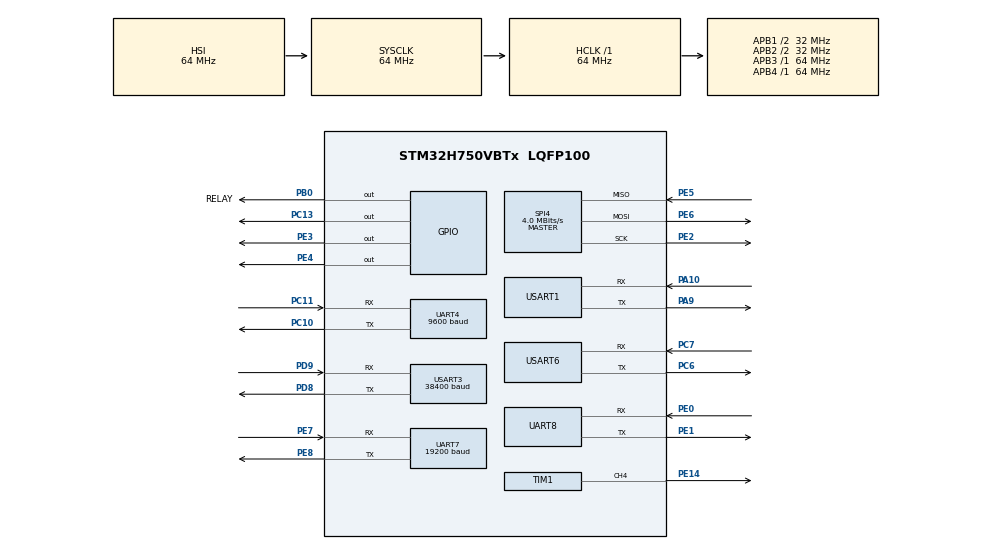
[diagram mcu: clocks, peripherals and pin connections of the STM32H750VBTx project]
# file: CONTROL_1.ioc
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CORTEX_M7.default_mode_Activation=1
Dma.Request0=USART6_RX
Dma.Request1=USART6_TX
Dma.Request10=UART8_RX
Dma.Request11=UART8_TX
Dma.Request2=USART1_RX
Dma.Request3=USART1_TX
Dma.Request4=UART4_RX
Dma.Request5=UART4_TX
Dma.Request6=USART3_RX
Dma.Request7=USART3_TX
Dma.Request8=UART7_RX
Dma.Request9=UART7_TX
Dma.UART4_RX.4.Direction=DMA_PERIPH_TO_MEMORY
Dma.UART4_RX.4.EventEnable=DISABLE
Dma.UART4_RX.4.FIFOMode=DMA_FIFOMODE_DISABLE
Dma.UART4_RX.4.Instance=DMA1_Stream4
Dma.UART4_RX.4.MemDataAlignment=DMA_MDATAALIGN_BYTE
Dma.UART4_RX.4.MemInc=DMA_MINC_ENABLE
Dma.UART4_RX.4.Mode=DMA_NORMAL
Dma.UART4_RX.4.PeriphDataAlignment=DMA_PDATAALIGN_BYTE
Dma.UART4_RX.4.PeriphInc=DMA_PINC_DISABLE
Dma.UART4_RX.4.Polarity=HAL_DMAMUX_REQ_GEN_RISING
Dma.UART4_RX.4.Priority=DMA_PRIORITY_LOW
Dma.UART4_RX.4.RequestNumber=1
Dma.UART4_RX.4.SignalID=NONE
Dma.UART4_RX.4.SyncEnable=DISABLE
Dma.UART4_RX.4.SyncPolarity=HAL_DMAMUX_SYNC_NO_EVENT
Dma.UART4_RX.4.SyncRequestNumber=1
Dma.UART4_RX.4.SyncSignalID=NONE
Dma.UART4_TX.5.Direction=DMA_MEMORY_TO_PERIPH
Dma.UART4_TX.5.EventEnable=DISABLE
Dma.UART4_TX.5.FIFOMode=DMA_FIFOMODE_DISABLE
Dma.UART4_TX.5.Instance=DMA1_Stream5
Dma.UART4_TX.5.MemDataAlignment=DMA_MDATAALIGN_BYTE
Dma.UART4_TX.5.MemInc=DMA_MINC_ENABLE
Dma.UART4_TX.5.Mode=DMA_NORMAL
Dma.UART4_TX.5.PeriphDataAlignment=DMA_PDATAALIGN_BYTE
Dma.UART4_TX.5.PeriphInc=DMA_PINC_DISABLE
Dma.UART4_TX.5.Polarity=HAL_DMAMUX_REQ_GEN_RISING
Dma.UART4_TX.5.Priority=DMA_PRIORITY_LOW
Dma.UART4_TX.5.RequestNumber=1
Dma.UART4_TX.5.SignalID=NONE
Dma.UART4_TX.5.SyncEnable=DISABLE
Dma.UART4_TX.5.SyncPolarity=HAL_DMAMUX_SYNC_NO_EVENT
Dma.UART4_TX.5.SyncRequestNumber=1
Dma.UART4_TX.5.SyncSignalID=NONE
Dma.UART7_RX.8.Direction=DMA_PERIPH_TO_MEMORY
Dma.UART7_RX.8.EventEnable=DISABLE
Dma.UART7_RX.8.FIFOMode=DMA_FIFOMODE_DISABLE
Dma.UART7_RX.8.Instance=DMA2_Stream0
Dma.UART7_RX.8.MemDataAlignment=DMA_MDATAALIGN_BYTE
Dma.UART7_RX.8.MemInc=DMA_MINC_ENABLE
Dma.UART7_RX.8.Mode=DMA_NORMAL
Dma.UART7_RX.8.PeriphDataAlignment=DMA_PDATAALIGN_BYTE
Dma.UART7_RX.8.PeriphInc=DMA_PINC_DISABLE
Dma.UART7_RX.8.Polarity=HAL_DMAMUX_REQ_GEN_RISING
Dma.UART7_RX.8.Priority=DMA_PRIORITY_LOW
Dma.UART7_RX.8.RequestNumber=1
Dma.UART7_RX.8.SignalID=NONE
Dma.UART7_RX.8.SyncEnable=DISABLE
Dma.UART7_RX.8.SyncPolarity=HAL_DMAMUX_SYNC_NO_EVENT
Dma.UART7_RX.8.SyncRequestNumber=1
Dma.UART7_RX.8.SyncSignalID=NONE
Dma.UART7_TX.9.Direction=DMA_MEMORY_TO_PERIPH
Dma.UART7_TX.9.EventEnable=DISABLE
Dma.UART7_TX.9.FIFOMode=DMA_FIFOMODE_DISABLE
Dma.UART7_TX.9.Instance=DMA2_Stream1
Dma.UART7_TX.9.MemDataAlignment=DMA_MDATAALIGN_BYTE
Dma.UART7_TX.9.MemInc=DMA_MINC_ENABLE
Dma.UART7_TX.9.Mode=DMA_NORMAL
Dma.UART7_TX.9.PeriphDataAlignment=DMA_PDATAALIGN_BYTE
Dma.UART7_TX.9.PeriphInc=DMA_PINC_DISABLE
Dma.UART7_TX.9.Polarity=HAL_DMAMUX_REQ_GEN_RISING
Dma.UART7_TX.9.Priority=DMA_PRIORITY_LOW
Dma.UART7_TX.9.RequestNumber=1
Dma.UART7_TX.9.SignalID=NONE
Dma.UART7_TX.9.SyncEnable=DISABLE
Dma.UART7_TX.9.SyncPolarity=HAL_DMAMUX_SYNC_NO_EVENT
Dma.UART7_TX.9.SyncRequestNumber=1
Dma.UART7_TX.9.SyncSignalID=NONE
Dma.UART8_RX.10.Direction=DMA_PERIPH_TO_MEMORY
Dma.UART8_RX.10.EventEnable=DISABLE
Dma.UART8_RX.10.FIFOMode=DMA_FIFOMODE_DISABLE
Dma.UART8_RX.10.Instance=DMA2_Stream2
Dma.UART8_RX.10.MemDataAlignment=DMA_MDATAALIGN_BYTE
Dma.UART8_RX.10.MemInc=DMA_MINC_ENABLE
Dma.UART8_RX.10.Mode=DMA_NORMAL
Dma.UART8_RX.10.PeriphDataAlignment=DMA_PDATAALIGN_BYTE
Dma.UART8_RX.10.PeriphInc=DMA_PINC_DISABLE
Dma.UART8_RX.10.Polarity=HAL_DMAMUX_REQ_GEN_RISING
Dma.UART8_RX.10.Priority=DMA_PRIORITY_LOW
Dma.UART8_RX.10.RequestNumber=1
Dma.UART8_RX.10.SignalID=NONE
Dma.UART8_RX.10.SyncEnable=DISABLE
Dma.UART8_RX.10.SyncPolarity=HAL_DMAMUX_SYNC_NO_EVENT
Dma.UART8_RX.10.SyncRequestNumber=1
Dma.UART8_RX.10.SyncSignalID=NONE
Dma.UART8_TX.11.Direction=DMA_MEMORY_TO_PERIPH
Dma.UART8_TX.11.EventEnable=DISABLE
Dma.UART8_TX.11.FIFOMode=DMA_FIFOMODE_DISABLE
Dma.UART8_TX.11.Instance=DMA2_Stream3
Dma.UART8_TX.11.MemDataAlignment=DMA_MDATAALIGN_BYTE
Dma.UART8_TX.11.MemInc=DMA_MINC_ENABLE
Dma.UART8_TX.11.Mode=DMA_NORMAL
Dma.UART8_TX.11.PeriphDataAlignment=DMA_PDATAALIGN_BYTE
Dma.UART8_TX.11.PeriphInc=DMA_PINC_DISABLE
Dma.UART8_TX.11.Polarity=HAL_DMAMUX_REQ_GEN_RISING
Dma.UART8_TX.11.Priority=DMA_PRIORITY_LOW
Dma.UART8_TX.11.RequestNumber=1
Dma.UART8_TX.11.SignalID=NONE
Dma.UART8_TX.11.SyncEnable=DISABLE
Dma.UART8_TX.11.SyncPolarity=HAL_DMAMUX_SYNC_NO_EVENT
Dma.UART8_TX.11.SyncRequestNumber=1
Dma.UART8_TX.11.SyncSignalID=NONE
Dma.USART1_RX.2.Direction=DMA_PERIPH_TO_MEMORY
Dma.USART1_RX.2.EventEnable=DISABLE
Dma.USART1_RX.2.FIFOMode=DMA_FIFOMODE_DISABLE
Dma.USART1_RX.2.Instance=DMA1_Stream2
Dma.USART1_RX.2.MemDataAlignment=DMA_MDATAALIGN_BYTE
Dma.USART1_RX.2.MemInc=DMA_MINC_ENABLE
Dma.USART1_RX.2.Mode=DMA_NORMAL
Dma.USART1_RX.2.PeriphDataAlignment=DMA_PDATAALIGN_BYTE
Dma.USART1_RX.2.PeriphInc=DMA_PINC_DISABLE
Dma.USART1_RX.2.Polarity=HAL_DMAMUX_REQ_GEN_RISING
Dma.USART1_RX.2.Priority=DMA_PRIORITY_LOW
Dma.USART1_RX.2.RequestNumber=1
Dma.USART1_RX.2.SignalID=NONE
Dma.USART1_RX.2.SyncEnable=DISABLE
Dma.USART1_RX.2.SyncPolarity=HAL_DMAMUX_SYNC_NO_EVENT
Dma.USART1_RX.2.SyncRequestNumber=1
Dma.USART1_RX.2.SyncSignalID=NONE
Dma.USART1_TX.3.Direction=DMA_MEMORY_TO_PERIPH
Dma.USART1_TX.3.EventEnable=DISABLE
Dma.USART1_TX.3.FIFOMode=DMA_FIFOMODE_DISABLE
Dma.USART1_TX.3.Instance=DMA1_Stream3
Dma.USART1_TX.3.MemDataAlignment=DMA_MDATAALIGN_BYTE
Dma.USART1_TX.3.MemInc=DMA_MINC_ENABLE
Dma.USART1_TX.3.Mode=DMA_NORMAL
Dma.USART1_TX.3.PeriphDataAlignment=DMA_PDATAALIGN_BYTE
Dma.USART1_TX.3.PeriphInc=DMA_PINC_DISABLE
Dma.USART1_TX.3.Polarity=HAL_DMAMUX_REQ_GEN_RISING
Dma.USART1_TX.3.Priority=DMA_PRIORITY_LOW
Dma.USART1_TX.3.RequestNumber=1
Dma.USART1_TX.3.SignalID=NONE
Dma.USART1_TX.3.SyncEnable=DISABLE
Dma.USART1_TX.3.SyncPolarity=HAL_DMAMUX_SYNC_NO_EVENT
Dma.USART1_TX.3.SyncRequestNumber=1
Dma.USART1_TX.3.SyncSignalID=NONE
Dma.USART3_RX.6.Direction=DMA_PERIPH_TO_MEMORY
Dma.USART3_RX.6.EventEnable=DISABLE
Dma.USART3_RX.6.FIFOMode=DMA_FIFOMODE_DISABLE
Dma.USART3_RX.6.Instance=DMA1_Stream6
Dma.USART3_RX.6.MemDataAlignment=DMA_MDATAALIGN_BYTE
Dma.USART3_RX.6.MemInc=DMA_MINC_ENABLE
Dma.USART3_RX.6.Mode=DMA_NORMAL
Dma.USART3_RX.6.PeriphDataAlignment=DMA_PDATAALIGN_BYTE
Dma.USART3_RX.6.PeriphInc=DMA_PINC_DISABLE
Dma.USART3_RX.6.Polarity=HAL_DMAMUX_REQ_GEN_RISING
Dma.USART3_RX.6.Priority=DMA_PRIORITY_LOW
Dma.USART3_RX.6.RequestNumber=1
Dma.USART3_RX.6.SignalID=NONE
Dma.USART3_RX.6.SyncEnable=DISABLE
Dma.USART3_RX.6.SyncPolarity=HAL_DMAMUX_SYNC_NO_EVENT
Dma.USART3_RX.6.SyncRequestNumber=1
Dma.USART3_RX.6.SyncSignalID=NONE
Dma.USART3_TX.7.Direction=DMA_MEMORY_TO_PERIPH
Dma.USART3_TX.7.EventEnable=DISABLE
Dma.USART3_TX.7.FIFOMode=DMA_FIFOMODE_DISABLE
Dma.USART3_TX.7.Instance=DMA1_Stream7
Dma.USART3_TX.7.MemDataAlignment=DMA_MDATAALIGN_BYTE
Dma.USART3_TX.7.MemInc=DMA_MINC_ENABLE
Dma.USART3_TX.7.Mode=DMA_NORMAL
Dma.USART3_TX.7.PeriphDataAlignment=DMA_PDATAALIGN_BYTE
Dma.USART3_TX.7.PeriphInc=DMA_PINC_DISABLE
Dma.USART3_TX.7.Polarity=HAL_DMAMUX_REQ_GEN_RISING
Dma.USART3_TX.7.Priority=DMA_PRIORITY_LOW
Dma.USART3_TX.7.RequestNumber=1
Dma.USART3_TX.7.SignalID=NONE
Dma.USART3_TX.7.SyncEnable=DISABLE
Dma.USART3_TX.7.SyncPolarity=HAL_DMAMUX_SYNC_NO_EVENT
Dma.USART3_TX.7.SyncRequestNumber=1
Dma.USART3_TX.7.SyncSignalID=NONE
Dma.USART6_RX.0.Direction=DMA_PERIPH_TO_MEMORY
Dma.USART6_RX.0.EventEnable=DISABLE
Dma.USART6_RX.0.FIFOMode=DMA_FIFOMODE_DISABLE
Dma.USART6_RX.0.Instance=DMA1_Stream0
Dma.USART6_RX.0.MemDataAlignment=DMA_MDATAALIGN_BYTE
Dma.USART6_RX.0.MemInc=DMA_MINC_ENABLE
Dma.USART6_RX.0.Mode=DMA_NORMAL
Dma.USART6_RX.0.PeriphDataAlignment=DMA_PDATAALIGN_BYTE
Dma.USART6_RX.0.PeriphInc=DMA_PINC_DISABLE
Dma.USART6_RX.0.Polarity=HAL_DMAMUX_REQ_GEN_RISING
Dma.USART6_RX.0.Priority=DMA_PRIORITY_LOW
Dma.USART6_RX.0.RequestNumber=1
Dma.USART6_RX.0.SignalID=NONE
Dma.USART6_RX.0.SyncEnable=DISABLE
Dma.USART6_RX.0.SyncPolarity=HAL_DMAMUX_SYNC_NO_EVENT
Dma.USART6_RX.0.SyncRequestNumber=1
Dma.USART6_RX.0.SyncSignalID=NONE
Dma.USART6_TX.1.Direction=DMA_MEMORY_TO_PERIPH
Dma.USART6_TX.1.EventEnable=DISABLE
Dma.USART6_TX.1.FIFOMode=DMA_FIFOMODE_DISABLE
Dma.USART6_TX.1.Instance=DMA1_Stream1
Dma.USART6_TX.1.MemDataAlignment=DMA_MDATAALIGN_BYTE
Dma.USART6_TX.1.MemInc=DMA_MINC_ENABLE
Dma.USART6_TX.1.Mode=DMA_NORMAL
Dma.USART6_TX.1.PeriphDataAlignment=DMA_PDATAALIGN_BYTE
Dma.USART6_TX.1.PeriphInc=DMA_PINC_DISABLE
Dma.USART6_TX.1.Polarity=HAL_DMAMUX_REQ_GEN_RISING
Dma.USART6_TX.1.Priority=DMA_PRIORITY_LOW
Dma.USART6_TX.1.RequestNumber=1
Dma.USART6_TX.1.SignalID=NONE
Dma.USART6_TX.1.SyncEnable=DISABLE
Dma.USART6_TX.1.SyncPolarity=HAL_DMAMUX_SYNC_NO_EVENT
Dma.USART6_TX.1.SyncRequestNumber=1
Dma.USART6_TX.1.SyncSignalID=NONE
Mcu.Family=STM32H7
Mcu.Name=STM32H750VBTx
Mcu.Package=LQFP100
NVIC.DMA1_Stream0_IRQn=true\:0\:0\:false\:false\:true\:false\:true\:true
NVIC.DMA1_Stream1_IRQn=true\:0\:0\:false\:false\:true\:false\:true\:true
NVIC.DMA1_Stream2_IRQn=true\:0\:0\:false\:false\:true\:false\:true\:true
NVIC.DMA1_Stream3_IRQn=true\:0\:0\:false\:false\:true\:false\:true\:true
NVIC.DMA1_Stream4_IRQn=true\:0\:0\:false\:false\:true\:false\:true\:true
NVIC.DMA1_Stream5_IRQn=true\:0\:0\:false\:false\:true\:false\:true\:true
NVIC.DMA1_Stream6_IRQn=true\:0\:0\:false\:false\:true\:false\:true\:true
NVIC.DMA1_Stream7_IRQn=true\:0\:0\:false\:false\:true\:false\:true\:true
NVIC.DMA2_Stream0_IRQn=true\:0\:0\:false\:false\:true\:false\:true\:true
NVIC.DMA2_Stream1_IRQn=true\:0\:0\:false\:false\:true\:false\:true\:true
NVIC.DMA2_Stream2_IRQn=true\:0\:0\:false\:false\:true\:false\:true\:true
NVIC.DMA2_Stream3_IRQn=true\:0\:0\:false\:false\:true\:false\:true\:true
NVIC.PriorityGroup=NVIC_PRIORITYGROUP_4
NVIC.TIM4_IRQn=true\:0\:0\:false\:false\:true\:true\:true\:true
NVIC.UART4_IRQn=true\:0\:0\:false\:false\:true\:true\:true\:true
NVIC.UART7_IRQn=true\:0\:0\:false\:false\:true\:true\:true\:true
NVIC.UART8_IRQn=true\:0\:0\:false\:false\:true\:true\:true\:true
NVIC.USART1_IRQn=true\:0\:0\:false\:false\:true\:true\:true\:true
NVIC.USART3_IRQn=true\:0\:0\:false\:false\:true\:true\:true\:true
NVIC.USART6_IRQn=true\:0\:0\:false\:false\:true\:true\:true\:true
PA10.Mode=Asynchronous
PA10.Signal=USART1_RX
PA9.Mode=Asynchronous
PA9.Signal=USART1_TX
PB0.GPIO_Label=RELAY
PB0.Signal=GPIO_Output
PB1.Signal=ADCx_INP5
PC10.Mode=Asynchronous
PC10.Signal=UART4_TX
PC11.Mode=Asynchronous
PC11.Signal=UART4_RX
PC13.GPIO_Speed=GPIO_SPEED_FREQ_LOW
PC13.Signal=GPIO_Output
PC6.Mode=Asynchronous
PC6.Signal=USART6_TX
PC7.Mode=Asynchronous
PC7.Signal=USART6_RX
PD8.Mode=Asynchronous
PD8.Signal=USART3_TX
PD9.Mode=Asynchronous
PD9.Signal=USART3_RX
PE0.Mode=Asynchronous
PE0.Signal=UART8_RX
PE1.Mode=Asynchronous
PE1.Signal=UART8_TX
PE14.Signal=S_TIM1_CH4
PE2.Mode=Full_Duplex_Master
PE2.Signal=SPI4_SCK
PE3.GPIO_Speed=GPIO_SPEED_FREQ_LOW
PE3.Signal=GPIO_Output
PE4.GPIO_Speed=GPIO_SPEED_FREQ_LOW
PE4.Signal=GPIO_Output
PE5.Mode=Full_Duplex_Master
PE5.Signal=SPI4_MISO
PE6.Mode=Full_Duplex_Master
PE6.Signal=SPI4_MOSI
PE7.Mode=Asynchronous
PE7.Signal=UART7_RX
PE8.Mode=Asynchronous
PE8.Signal=UART7_TX
PH0-OSC_IN\ (PH0).Mode=HSE-External-Oscillator
PH0-OSC_IN\ (PH0).Signal=RCC_OSC_IN
PH1-OSC_OUT\ (PH1).Mode=HSE-External-Oscillator
PH1-OSC_OUT\ (PH1).Signal=RCC_OSC_OUT
ProjectManager.HeapSize=0x200
ProjectManager.StackSize=0x400
ProjectManager.TargetToolchain=STM32CubeIDE
RCC.ADCFreq_Value=80000000
RCC.APB1Freq_Value=32000000
RCC.APB2Freq_Value=32000000
RCC.APB3Freq_Value=64000000
RCC.APB4Freq_Value=64000000
RCC.CortexFreq_Value=64000000
RCC.D2PPRE1=RCC_APB1_DIV2
RCC.D2PPRE2=RCC_APB2_DIV2
RCC.DIVM2=4
RCC.DIVN2=10
RCC.HCLKFreq_Value=64000000
RCC.PLL2FRACN=0
RCC.SYSCLKFreq_VALUE=64000000
RCC.USBFreq_Value=129000000
SH.ADCx_INP5.0=ADC1_INP5
SH.ADCx_INP5.1=ADC2_INP5
SH.S_TIM1_CH4.0=TIM1_CH4,PWM Generation4 CH4
SPI4.BaudRatePrescaler=SPI_BAUDRATEPRESCALER_8
SPI4.CLKPhase=SPI_PHASE_2EDGE
SPI4.CalculateBaudRate=4.0 MBits/s
SPI4.DataSize=SPI_DATASIZE_8BIT
SPI4.Direction=SPI_DIRECTION_2LINES
SPI4.Mode=SPI_MODE_MASTER
SPI4.VirtualType=VM_MASTER
TIM1.Channel-PWM\ Generation4\ CH4=TIM_CHANNEL_4
TIM1.Period=99
TIM1.Prescaler=64-1
TIM1.Pulse-PWM\ Generation4\ CH4=65534
TIM4.Period=65535
TIM4.Prescaler=64-1
UART4.BaudRate=9600
UART7.BaudRate=19200
USART1.VirtualMode-Asynchronous=VM_ASYNC
USART3.BaudRate=38400
USART3.VirtualMode-Asynchronous=VM_ASYNC
USART6.VirtualMode=VM_ASYNC
VP_MEMORYMAP_VS_MEMORYMAP.Mode=CurAppReg
VP_TIM1_VS_ClockSourceINT.Mode=Internal
VP_TIM4_VS_ClockSourceINT.Mode=Internal
board=custom

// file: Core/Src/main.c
/* USER CODE BEGIN Header */
/**
  ******************************************************************************
  * @file           : main.c
  * @brief          : Main program body
  ******************************************************************************
  * @attention
  *
  * Copyright (c) 2025 STMicroelectronics.
  * All rights reserved.
  *
  * This software is licensed under terms that can be found in the LICENSE file
  * in the root directory of this software component.
  * If no LICENSE file comes with this software, it is provided AS-IS.
  *
  ******************************************************************************
  */
/* USER CODE END Header */
#include "main.h"
#include "dma.h"
#include "spi.h"
#include "tim.h"
#include "usart.h"
#include "gpio.h"

/* USER CODE BEGIN Includes */
#include <stdlib.h>
#include <stdint.h>
#include "pump.h"
#include "temperature.h"
#include "ph.h"
#include "stir.h"
#include "relay.h"
#include "oxygen.h"
#include "pid.h"
#include "ntc_control.h"
#include "ads8688.h"
#include "crc.h"
//#include "OD.h"
#include "endgas.h"
#include "pt100.h"
#include "pwm2.h"
/* USER CODE END Includes */

/* USER CODE BEGIN PD */
GPIO_PinState pin_state;

uint8_t rx_data1[RX_BUFFER_SIZE];

/* USER CODE END PD */

/* USER CODE BEGIN PV */

//_write 非阻塞 DMA 重定向
#define UART_TX_BUFFER_SIZE 256
uint8_t uart_tx_buffer[UART_TX_BUFFER_SIZE];
volatile uint8_t tx_busy = 0;

int _write(int file, char *ptr, int len) {
    if(len > UART_TX_BUFFER_SIZE) len = UART_TX_BUFFER_SIZE;

    // 等待前一次发送完成（带超时）
    uint32_t start = HAL_GetTick();
    while(tx_busy && (HAL_GetTick() - start < 100)) {
        // 等待或执行其他任务
    }

    if(tx_busy) {
        return 0; // 超时仍未完成，放弃发送
    }

    memcpy(uart_tx_buffer, ptr, len);
    tx_busy = 1;
    HAL_UART_Transmit_DMA(&huart1, uart_tx_buffer, len);

    return len;
}

/* USER CODE END PV */

void SystemClock_Config(void);
static void MPU_Config(void);

int main(void)
{

  /* MPU Configuration--------------------------------------------------------*/
  MPU_Config();

  /* MCU Configuration--------------------------------------------------------*/

  /* Reset of all peripherals, Initializes the Flash interface and the Systick. */
  HAL_Init();

  /* Configure the system clock */
  SystemClock_Config();

  /* Initialize all configured peripherals */
  MX_GPIO_Init();
  MX_DMA_Init();
  MX_USART6_UART_Init();
  MX_TIM4_Init();
  MX_USART1_UART_Init();
  MX_USART3_UART_Init();
  MX_UART4_Init();
  MX_UART7_Init();
  MX_SPI4_Init();
  MX_UART8_Init();
  MX_TIM1_Init();
  /* USER CODE BEGIN 2 */

  HAL_TIM_Base_Start(&htim4);
  //OD_Init();
  HAL_Delay(50);
  ADS8688_Init();
  printf("ADS8688 Initialized Successfully!\r\n");
  HAL_Delay(50);
  Relay_Init();
  HAL_Delay(50);

  static uint32_t last_Endgas_time = 0;//尾气任务计时
  static uint32_t last_ph_time = 0;//ph任务计时
  static uint32_t last_temp_time = 0;  // 温控任务计时器
  static uint32_t last_ox_time = 0;// 溶氧任务计时器
  HAL_UARTEx_ReceiveToIdle_DMA(&huart7, rx_data7, sizeof(rx_data7));
  __HAL_DMA_DISABLE_IT(huart7.hdmarx, DMA_IT_HT);
  HAL_UARTEx_ReceiveToIdle_DMA(&huart3, rx_data3, sizeof(rx_data3));
  __HAL_DMA_DISABLE_IT(huart3.hdmarx, DMA_IT_HT);
  HAL_UARTEx_ReceiveToIdle_DMA(&huart6, rx_data6, sizeof(rx_data6));
  __HAL_DMA_DISABLE_IT(huart6.hdmarx, DMA_IT_HT);
  HAL_UARTEx_ReceiveToIdle_DMA(&huart4, rx_data4, sizeof(rx_data4));
    __HAL_DMA_DISABLE_IT(huart4.hdmarx, DMA_IT_HT);
    HAL_UARTEx_ReceiveToIdle_DMA(&huart8, rx_data8, sizeof(rx_data8));
        __HAL_DMA_DISABLE_IT(huart8.hdmarx, DMA_IT_HT);
    PT100_Init();
  Get_Sign();
  HAL_Delay(50);
  SpeedMode();
  HAL_Delay(50);
  Set_Stir_Speed(0);
//  PWM2_Init();
//  HAL_Delay(50);
  NTC_Control_Init();  // 初始化温控（执行自整定）

  /* USER CODE END 2 */

  /* Infinite loop */
  /* USER CODE BEGIN WHILE */
  while (1)
  {
	  // 处理 USART1 接收数据
	      if (usart1_rx_flag)
	      {
	          usart1_rx_flag = 0;   // 清除标志

	          // 调用搅拌命令解析函数
	          Process_Stir_Command(usart1_rx_buffer, usart1_rx_size);
	      }

	    // 每 1000ms 执行一次 pH 任务
	      if (HAL_GetTick() - last_ph_time >= 3000) {
	          Task_PH();
	          last_ph_time = HAL_GetTick();
	      }
	      // 每 1000ms 执行一次 尾气 任务
	      	      if (HAL_GetTick() - last_Endgas_time >= 1000) {
	      	    	Send_Task();
	      	    	last_Endgas_time = HAL_GetTick();
	      	      }

	      // 每1000ms执行一次温控任务
	      if (HAL_GetTick() - last_temp_time >= 500) {
	        NTC_Control_Update();// 更新温度控制
	        last_temp_time = HAL_GetTick();
	      }

	      if (HAL_GetTick() - last_ox_time >= 2000) {
	    	 ADS8688_ReadOxygen(4);  // 更新溶氧控制
	      	      last_ox_time = HAL_GetTick();
	      	      }

    /* USER CODE END WHILE */

  }
}

void SystemClock_Config(void)
{
  RCC_OscInitTypeDef RCC_OscInitStruct = {0};
  RCC_ClkInitTypeDef RCC_ClkInitStruct = {0};

  /** Supply configuration update enable
  */
  HAL_PWREx_ConfigSupply(PWR_LDO_SUPPLY);

  /** Configure the main internal regulator output voltage
  */
  __HAL_PWR_VOLTAGESCALING_CONFIG(PWR_REGULATOR_VOLTAGE_SCALE3);

  while(!__HAL_PWR_GET_FLAG(PWR_FLAG_VOSRDY)) {}

  /** Initializes the RCC Oscillators according to the specified parameters
  * in the RCC_OscInitTypeDef structure.
  */
  RCC_OscInitStruct.OscillatorType = RCC_OSCILLATORTYPE_HSI;
  RCC_OscInitStruct.HSIState = RCC_HSI_DIV1;
  RCC_OscInitStruct.HSICalibrationValue = RCC_HSICALIBRATION_DEFAULT;
  RCC_OscInitStruct.PLL.PLLState = RCC_PLL_NONE;
  if (HAL_RCC_OscConfig(&RCC_OscInitStruct) != HAL_OK)
  {
    Error_Handler();
  }

  /** Initializes the CPU, AHB and APB buses clocks
  */
  RCC_ClkInitStruct.ClockType = RCC_CLOCKTYPE_HCLK|RCC_CLOCKTYPE_SYSCLK
                              |RCC_CLOCKTYPE_PCLK1|RCC_CLOCKTYPE_PCLK2
                              |RCC_CLOCKTYPE_D3PCLK1|RCC_CLOCKTYPE_D1PCLK1;
  RCC_ClkInitStruct.SYSCLKSource = RCC_SYSCLKSOURCE_HSI;
  RCC_ClkInitStruct.SYSCLKDivider = RCC_SYSCLK_DIV1;
  RCC_ClkInitStruct.AHBCLKDivider = RCC_HCLK_DIV1;
  RCC_ClkInitStruct.APB3CLKDivider = RCC_APB3_DIV1;
  RCC_ClkInitStruct.APB1CLKDivider = RCC_APB1_DIV2;
  RCC_ClkInitStruct.APB2CLKDivider = RCC_APB2_DIV2;
  RCC_ClkInitStruct.APB4CLKDivider = RCC_APB4_DIV1;

  if (HAL_RCC_ClockConfig(&RCC_ClkInitStruct, FLASH_LATENCY_1) != HAL_OK)
  {
    Error_Handler();
  }
}

 /* MPU Configuration */

void MPU_Config(void)
{
  MPU_Region_InitTypeDef MPU_InitStruct = {0};

  /* Disables the MPU */
  HAL_MPU_Disable();

  /** Initializes and configures the Region and the memory to be protected
  */
  MPU_InitStruct.Enable = MPU_REGION_ENABLE;
  MPU_InitStruct.Number = MPU_REGION_NUMBER0;
  MPU_InitStruct.BaseAddress = 0x0;
  MPU_InitStruct.Size = MPU_REGION_SIZE_4GB;
  MPU_InitStruct.SubRegionDisable = 0x87;
  MPU_InitStruct.TypeExtField = MPU_TEX_LEVEL0;
  MPU_InitStruct.AccessPermission = MPU_REGION_NO_ACCESS;
  MPU_InitStruct.DisableExec = MPU_INSTRUCTION_ACCESS_DISABLE;
  MPU_InitStruct.IsShareable = MPU_ACCESS_SHAREABLE;
  MPU_InitStruct.IsCacheable = MPU_ACCESS_NOT_CACHEABLE;
  MPU_InitStruct.IsBufferable = MPU_ACCESS_NOT_BUFFERABLE;

  HAL_MPU_ConfigRegion(&MPU_InitStruct);
  /* Enables the MPU */
  HAL_MPU_Enable(MPU_PRIVILEGED_DEFAULT);

}

void Error_Handler(void)
{
  __disable_irq();
  while (1)
  {
  }
}
